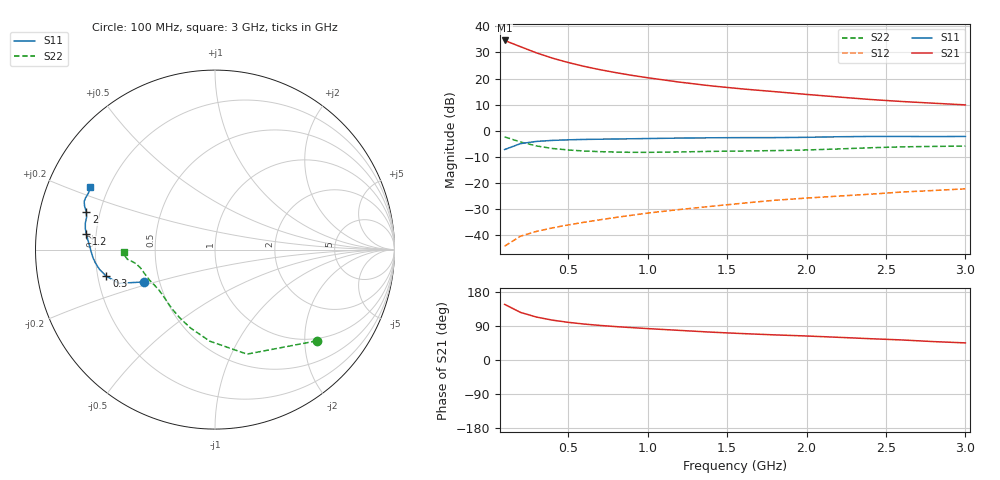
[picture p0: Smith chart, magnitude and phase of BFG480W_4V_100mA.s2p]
! Filename: 4100BFG480.001
! Title: BFG480W
! Bias: Vce=4V; Ic=100mA
! Company: Philips Semiconductors NL
! User: Quality&Reliability T&D
! Measure time: 10 Nov 1999 / 12:04:01
#  MHz  S  MA  R 50
! Freq  S11  S21  S12  S22  :
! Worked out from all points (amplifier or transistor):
!   20 points, 100 MHz to 3 GHz, reference 50 ohm
!   highest |S21| = 34.6 dB at 100 MHz (marker M1)
!   |S21| within 3 dB of that: start of sweep to 225.8 MHz
!   unconditionally stable (mu >= 1): 717.5 MHz to end of sweep
!   at 400 MHz: K = 0.81, MSG = 32.5 dB, |S12| = -37.2 dB
!   at 1.2 GHz: K = 1.08, MAG = 22.7 dB, |S12| = -30.2 dB
!   at 3 GHz: K = 1.05, MAG = 14.8 dB, |S12| = -22.3 dB
!   S11 on the Smith chart (normalised r, x): 100 MHz: 0.41, -0.18; 300 MHz: 0.24, -0.11; 1.2 GHz: 0.16, +0.06; 2 GHz: 0.15, +0.14; 3 GHz: 0.13, +0.23
100  0.4361 -155.6  53.57 146.8  0.006144 68.9  0.7611 -41.9
200  0.5659 -160.6  40.67 125.6  0.009547 60.6  0.609 -73.0
300  0.6234 -166.2  31.03 113.3  0.01178 59.8  0.5109 -93.3
400  0.6525 -170.2  24.61 105.2  0.01374 61.3  0.4574 -107.4
500  0.6692 -173.4  20.26 99.4  0.01566 63.3  0.4273 -117.6
600  0.6809 -176.0  17.09 94.9  0.01762 65.3  0.4089 -125.2
700  0.6877 -178.3  14.77 91.2  0.01967 67.4  0.3972 -131.1
800  0.6941 179.7  12.95 88.1  0.02182 69.1  0.3895 -136.0
900  0.701 177.8  11.51 85.4  0.02402 70.9  0.3857 -140.3
1000  0.7082 176.1  10.35 82.9  0.02642 71.9  0.3853 -144.1
1200  0.7221 173.1  8.538 78.2  0.03094 73.5  0.392 -150.2
1400  0.732 170.8  7.226 73.5  0.03562 74.4  0.4022 -154.8
1600  0.7375 168.4  6.303 69.7  0.04088 75.3  0.4085 -158.2
1800  0.7376 165.9  5.603 66.3  0.04655 75.7  0.416 -161.9
2000  0.7472 163.6  4.959 63.4  0.0512 76.2  0.4278 -166.3
2200  0.7662 161.5  4.428 59.9  0.0559 76.3  0.4471 -169.9
2400  0.7766 159.8  3.968 56.2  0.06079 75.7  0.4716 -172.3
2600  0.7767 158.2  3.627 52.9  0.06689 75.0  0.4909 -173.7
2800  0.7721 155.9  3.364 48.5  0.07163 73.6  0.5003 -175.5
3000  0.7771 153.2  3.124 45.1  0.077 72.8  0.508 -178.4
